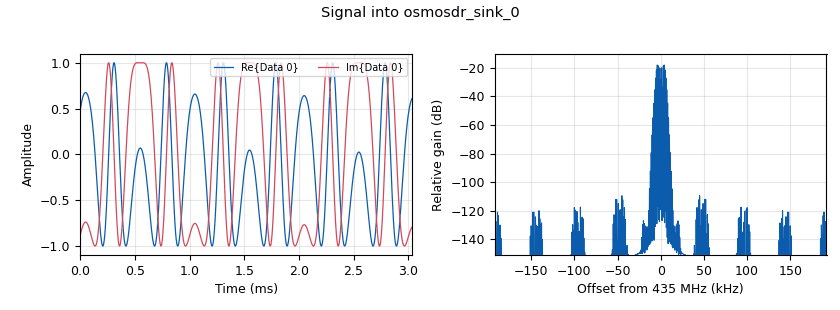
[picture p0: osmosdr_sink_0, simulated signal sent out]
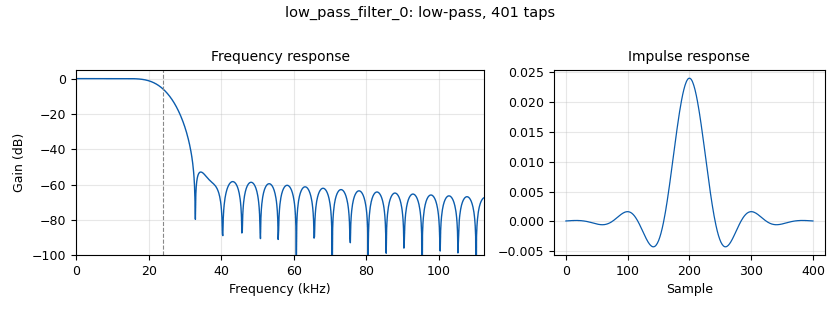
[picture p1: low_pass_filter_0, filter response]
<?xml version='1.0' encoding='utf-8'?>
<flow_graph>
<block>
<key>analog_sig_source_x</key>
<param><key>id</key><value>analog_sig_source_x_0</value></param>
<param><key>type</key><value>float</value></param>
<param><key>samp_rate</key><value>audio_rate</value></param>
<param><key>waveform</key><value>analog.GR_COS_WAVE</value></param>
<param><key>freq</key><value>tone_freq</value></param>
<param><key>amp</key><value>1</value></param>
<param><key>offset</key><value>0</value></param>
</block>
<block>
<key>variable</key>
<param><key>id</key><value>beeper_freq</value></param>
<param><key>value</key><value>2</value></param>
</block>
<block>
<key>variable</key>
<param><key>id</key><value>audio_interp</value></param>
<param><key>value</key><value>8</value></param>
</block>
<block>
<key>variable</key>
<param><key>id</key><value>audio_rate</value></param>
<param><key>value</key><value>48000</value></param>
</block>
<block>
<key>variable</key>
<param><key>id</key><value>tone_freq</value></param>
<param><key>value</key><value>1000</value></param>
</block>
<block>
<key>variable</key>
<param><key>id</key><value>rf_freq</value></param>
<param><key>value</key><value>435e6</value></param>
</block>
<block>
<key>variable</key>
<param><key>id</key><value>rtl_samp_rate</value></param>
<param><key>value</key><value>2000000</value></param>
</block>
<block>
<key>variable</key>
<param><key>id</key><value>hackrf_samp_rate</value></param>
<param><key>value</key><value>8000000</value></param>
</block>
<block>
<key>analog_sig_source_x</key>
<param><key>id</key><value>analog_sig_source_x_1</value></param>
<param><key>type</key><value>float</value></param>
<param><key>samp_rate</key><value>audio_rate</value></param>
<param><key>waveform</key><value>analog.GR_TRI_WAVE</value></param>
<param><key>freq</key><value>beeper_freq</value></param>
<param><key>amp</key><value>1</value></param>
<param><key>offset</key><value>0</value></param>
</block>
<block>
<key>blocks_multiply_xx</key>
<param><key>id</key><value>blocks_multiply_xx_0</value></param>
<param><key>type</key><value>float</value></param>
</block>
<block>
<key>osmosdr_sink</key>
<param><key>id</key><value>osmosdr_sink_0</value></param>
<param><key>type</key><value>fc32</value></param>
<param><key>args</key><value>hackrf=0</value></param>
<param><key>sample_rate</key><value>audio_rate * audio_interp</value></param>
<param><key>freq0</key><value>rf_freq</value></param>
<param><key>gain0</key><value>0</value></param>
<param><key>if_gain0</key><value>20</value></param>
<param><key>bb_gain0</key><value>20</value></param>
</block>
<block>
<key>rational_resampler_xxx</key>
<param><key>id</key><value>rational_resampler_xxx_1_0</value></param>
<param><key>type</key><value>ccc</value></param>
<param><key>interp</key><value>audio_interp</value></param>
<param><key>decim</key><value>1</value></param>
<param><key>taps</key><value></value></param>
</block>
<block>
<key>analog_nbfm_tx</key>
<param><key>id</key><value>analog_nbfm_tx_0</value></param>
<param><key>audio_rate</key><value>audio_rate</value></param>
<param><key>quad_rate</key><value>audio_rate</value></param>
<param><key>tau</key><value>75e-6</value></param>
<param><key>max_dev</key><value>5e3</value></param>
</block>
<block>
<key>wxgui_fftsink2</key>
<param><key>id</key><value>wxgui_fftsink2_1</value></param>
<param><key>type</key><value>float</value></param>
<param><key>title</key><value>Baseband FFT</value></param>
<param><key>samp_rate</key><value>audio_rate</value></param>
<param><key>baseband_freq</key><value>0</value></param>
<param><key>y_per_div</key><value>10</value></param>
<param><key>y_divs</key><value>10</value></param>
<param><key>ref_level</key><value>0</value></param>
<param><key>ref_scale</key><value>2.0</value></param>
<param><key>fft_size</key><value>1024</value></param>
<param><key>fft_rate</key><value>15</value></param>
<param><key>peak_hold</key><value>False</value></param>
<param><key>average</key><value>False</value></param>
<param><key>avg_alpha</key><value>0</value></param>
<param><key>win</key><value>None</value></param>
<param><key>freqvar</key><value>None</value></param>
</block>
<block>
<key>low_pass_filter</key>
<param><key>id</key><value>low_pass_filter_0</value></param>
<param><key>type</key><value>fir_filter_ccf</value></param>
<param><key>decim</key><value>rtl_samp_rate/audio_rate</value></param>
<param><key>interp</key><value>audio_interp * audio_rate</value></param>
<param><key>gain</key><value>1</value></param>
<param><key>samp_rate</key><value>rtl_samp_rate</value></param>
<param><key>cutoff_freq</key><value>audio_rate/2</value></param>
<param><key>width</key><value>audio_rate/4</value></param>
<param><key>win</key><value>firdes.WIN_HAMMING</value></param>
</block>
<block>
<key>analog_nbfm_rx</key>
<param><key>id</key><value>analog_nbfm_rx_0</value></param>
<param><key>audio_rate</key><value>audio_rate</value></param>
<param><key>quad_rate</key><value>audio_rate</value></param>
<param><key>tau</key><value>75e-6</value></param>
<param><key>max_dev</key><value>5e3</value></param>
</block>
<block>
<key>audio_sink</key>
<param><key>id</key><value>audio_sink_0</value></param>
<param><key>samp_rate</key><value>audio_rate</value></param>
</block>
<block>
<key>wxgui_fftsink2</key>
<param><key>id</key><value>wxgui_fftsink2_0</value></param>
<param><key>type</key><value>complex</value></param>
<param><key>title</key><value>RF FFT</value></param>
<param><key>samp_rate</key><value>rtl_samp_rate</value></param>
<param><key>baseband_freq</key><value>rf_freq</value></param>
<param><key>y_per_div</key><value>10</value></param>
<param><key>y_divs</key><value>10</value></param>
<param><key>ref_level</key><value>0</value></param>
<param><key>ref_scale</key><value>2.0</value></param>
<param><key>fft_size</key><value>1024</value></param>
<param><key>fft_rate</key><value>15</value></param>
<param><key>peak_hold</key><value>False</value></param>
<param><key>average</key><value>False</value></param>
<param><key>avg_alpha</key><value>0</value></param>
<param><key>win</key><value>None</value></param>
<param><key>freqvar</key><value>None</value></param>
</block>
<block>
<key>osmosdr_source</key>
<param><key>id</key><value>osmosdr_source_0</value></param>
<param><key>type</key><value>fc32</value></param>
<param><key>args</key><value>rtl=0</value></param>
<param><key>sample_rate</key><value>rtl_samp_rate</value></param>
<param><key>freq0</key><value>rf_freq</value></param>
<param><key>gain_mode0</key><value>True</value></param>
<param><key>gain0</key><value>10</value></param>
<param><key>if_gain0</key><value>20</value></param>
<param><key>bb_gain0</key><value>20</value></param>
</block>
<block>
<key>options</key>
<param><key>id</key><value>top_block</value></param>
<param><key>title</key><value>Loop Test</value></param>
<param><key>author</key><value>Chris Kuethe &lt;chris.kuethe@gmail.com&gt;</value></param>
<param><key>description</key><value>A simple test of Signal Generation, Transmission, and Reception</value></param>
<param><key>generate_options</key><value>wx_gui</value></param>
<param><key>category</key><value>Custom</value></param>
</block>
<connection><source_block_id>analog_sig_source_x_1</source_block_id><sink_block_id>blocks_multiply_xx_0</sink_block_id><source_key>0</source_key><sink_key>0</sink_key></connection>
<connection><source_block_id>analog_sig_source_x_0</source_block_id><sink_block_id>blocks_multiply_xx_0</sink_block_id><source_key>0</source_key><sink_key>1</sink_key></connection>
<connection><source_block_id>blocks_multiply_xx_0</source_block_id><sink_block_id>analog_nbfm_tx_0</sink_block_id><source_key>0</source_key><sink_key>0</sink_key></connection>
<connection><source_block_id>rational_resampler_xxx_1_0</source_block_id><sink_block_id>osmosdr_sink_0</sink_block_id><source_key>0</source_key><sink_key>0</sink_key></connection>
<connection><source_block_id>analog_nbfm_tx_0</source_block_id><sink_block_id>rational_resampler_xxx_1_0</sink_block_id><source_key>0</source_key><sink_key>0</sink_key></connection>
<connection><source_block_id>analog_nbfm_rx_0</source_block_id><sink_block_id>wxgui_fftsink2_1</sink_block_id><source_key>0</source_key><sink_key>0</sink_key></connection>
<connection><source_block_id>low_pass_filter_0</source_block_id><sink_block_id>analog_nbfm_rx_0</sink_block_id><source_key>0</source_key><sink_key>0</sink_key></connection>
<connection><source_block_id>osmosdr_source_0</source_block_id><sink_block_id>low_pass_filter_0</sink_block_id><source_key>0</source_key><sink_key>0</sink_key></connection>
<connection><source_block_id>low_pass_filter_0</source_block_id><sink_block_id>wxgui_fftsink2_0</sink_block_id><source_key>0</source_key><sink_key>0</sink_key></connection>
<connection><source_block_id>analog_nbfm_rx_0</source_block_id><sink_block_id>audio_sink_0</sink_block_id><source_key>0</source_key><sink_key>0</sink_key></connection>
</flow_graph>
